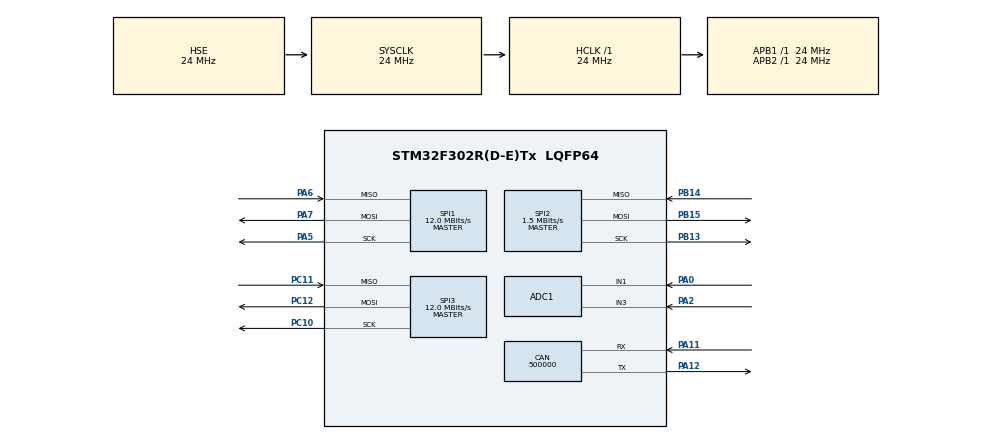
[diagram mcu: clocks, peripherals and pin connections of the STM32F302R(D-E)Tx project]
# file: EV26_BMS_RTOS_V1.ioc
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ADC1.Channel-0\#ChannelRegularConversion=ADC_CHANNEL_1
ADC1.NbrOfConversionFlag=1
ADC1.Offset-0\#ChannelRegularConversion=0
ADC1.OffsetNumber-0\#ChannelRegularConversion=ADC_OFFSET_NONE
ADC1.Rank-0\#ChannelRegularConversion=1
ADC1.SamplingTime-0\#ChannelRegularConversion=ADC_SAMPLETIME_1CYCLE_5
ADC1.master=1
CAN.CalculateBaudRate=500000
CAN.CalculateTimeBit=2000
CAN.CalculateTimeQuantum=666.6666666666666
Dma.ADC1.0.Direction=DMA_PERIPH_TO_MEMORY
Dma.ADC1.0.Instance=DMA1_Channel1
Dma.ADC1.0.MemDataAlignment=DMA_MDATAALIGN_HALFWORD
Dma.ADC1.0.MemInc=DMA_MINC_ENABLE
Dma.ADC1.0.Mode=DMA_CIRCULAR
Dma.ADC1.0.PeriphDataAlignment=DMA_PDATAALIGN_HALFWORD
Dma.ADC1.0.PeriphInc=DMA_PINC_DISABLE
Dma.ADC1.0.Priority=DMA_PRIORITY_LOW
Dma.Request0=ADC1
FREERTOS.Tasks01=BMSPrimaryMSG,24,128,StartBMSPrimaryMSG,Default,NULL,Dynamic,NULL,NULL;Fault,40,128,StartFault,Default,NULL,Dynamic,NULL,NULL;CANRXMSG,16,128,StartCANRXMSG,Default,NULL,Dynamic,NULL,NULL;BMSSecondaryMSG,24,128,StartBMSSecondaryMSG,Default,NULL,Dynamic,NULL,NULL
FREERTOS.configUSE_NEWLIB_REENTRANT=1
Mcu.Family=STM32F3
Mcu.Name=STM32F302R(D-E)Tx
Mcu.Package=LQFP64
NVIC.DMA1_Channel1_IRQn=true\:5\:0\:false\:false\:true\:true\:false\:true\:true
NVIC.PriorityGroup=NVIC_PRIORITYGROUP_4
NVIC.TIM6_DAC_IRQn=true\:15\:0\:false\:false\:true\:false\:false\:true\:true
NVIC.TimeBase=TIM6_DAC_IRQn
NVIC.TimeBaseIP=TIM6
PA0.Mode=IN1-Single-Ended
PA0.Signal=ADC1_IN1
PA11.Mode=CAN_Activate
PA11.Signal=CAN_RX
PA12.Mode=CAN_Activate
PA12.Signal=CAN_TX
PA2.Mode=IN3-Single-Ended
PA2.Signal=ADC1_IN3
PA5.Mode=Full_Duplex_Master
PA5.Signal=SPI1_SCK
PA6.Mode=Full_Duplex_Master
PA6.Signal=SPI1_MISO
PA7.Mode=Full_Duplex_Master
PA7.Signal=SPI1_MOSI
PB13.Mode=Full_Duplex_Master
PB13.Signal=SPI2_SCK
PB14.Mode=Full_Duplex_Master
PB14.Signal=SPI2_MISO
PB15.Mode=Full_Duplex_Master
PB15.Signal=SPI2_MOSI
PC10.Mode=Full_Duplex_Master
PC10.Signal=SPI3_SCK
PC11.Mode=Full_Duplex_Master
PC11.Signal=SPI3_MISO
PC12.Mode=Full_Duplex_Master
PC12.Signal=SPI3_MOSI
PF0-OSC_IN.Mode=HSE-External-Oscillator
PF0-OSC_IN.Signal=RCC_OSC_IN
PF1-OSC_OUT.Mode=HSE-External-Oscillator
PF1-OSC_OUT.Signal=RCC_OSC_OUT
ProjectManager.HeapSize=0x200
ProjectManager.StackSize=0x400
ProjectManager.TargetToolchain=STM32CubeIDE
RCC.AHBFreq_Value=24000000
RCC.APB1Freq_Value=24000000
RCC.APB1TimFreq_Value=24000000
RCC.APB2Freq_Value=24000000
RCC.APB2TimFreq_Value=24000000
RCC.CortexFreq_Value=24000000
RCC.DATA_CACHE_ENABLE=0
RCC.HCLKFreq_Value=24000000
RCC.HSE_VALUE=24000000
RCC.HSI_VALUE=8000000
RCC.INSTRUCTION_CACHE_ENABLE=0
RCC.LSE_VALUE=32768
RCC.PLLSourceVirtual=RCC_PLLSOURCE_HSE
RCC.SYSCLKFreq_VALUE=24000000
RCC.SYSCLKSourceVirtual=RCC_SYSCLKSOURCE_HSE
RCC.USBFreq_Value=48000000
SPI1.CalculateBaudRate=12.0 MBits/s
SPI1.Direction=SPI_DIRECTION_2LINES
SPI1.Mode=SPI_MODE_MASTER
SPI1.VirtualType=VM_MASTER
SPI2.BaudRatePrescaler=SPI_BAUDRATEPRESCALER_16
SPI2.CalculateBaudRate=1.5 MBits/s
SPI2.DataSize=SPI_DATASIZE_8BIT
SPI2.Direction=SPI_DIRECTION_2LINES
SPI2.Mode=SPI_MODE_MASTER
SPI2.VirtualType=VM_MASTER
SPI3.CalculateBaudRate=12.0 MBits/s
SPI3.Direction=SPI_DIRECTION_2LINES
SPI3.Mode=SPI_MODE_MASTER
SPI3.VirtualType=VM_MASTER
VP_FREERTOS_VS_CMSIS_V2.Mode=CMSIS_V2
VP_SYS_VS_tim6.Mode=TIM6
board=custom

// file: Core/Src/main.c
/* USER CODE BEGIN Header */
/**
  ******************************************************************************
  * @file           : main.c
  * @brief          : Main program body
  ******************************************************************************
  * @attention
  *
  * Copyright (c) 2025 STMicroelectronics.
  * All rights reserved.
  *
  * This software is licensed under terms that can be found in the LICENSE file
  * in the root directory of this software component.
  * If no LICENSE file comes with this software, it is provided AS-IS.
  *
  ******************************************************************************
  */
/* USER CODE END Header */
#include "main.h"
#include "cmsis_os.h"
#include "adc.h"
#include "can.h"
#include "dma.h"
#include "spi.h"
#include "gpio.h"

/* USER CODE BEGIN Includes */
#include "can_encode.h"
#include "can_decode.h"
#include "DHAB124.h"
/* USER CODE END Includes */

void SystemClock_Config(void);
void MX_FREERTOS_Init(void);

int main(void)
{

  /* MCU Configuration--------------------------------------------------------*/

  /* Reset of all peripherals, Initializes the Flash interface and the Systick. */
  HAL_Init();

  /* Configure the system clock */
  SystemClock_Config();

  /* Initialize all configured peripherals */
  MX_GPIO_Init();
  MX_DMA_Init();
  MX_CAN_Init();
  MX_SPI1_Init();
  MX_SPI3_Init();
  MX_ADC1_Init();
  MX_SPI2_Init();
  /* USER CODE BEGIN 2 */

  TxHeader.IDE = CAN_ID_STD;
  TxHeader.RTR = CAN_RTR_DATA;
  TxHeader.DLC = 8;
  TxHeader.TransmitGlobalTime = DISABLE;

  /* USER CODE END 2 */

  /* Init scheduler */
  osKernelInitialize();  /* Call init function for freertos objects (in cmsis_os2.c) */
  MX_FREERTOS_Init();

  /* Start scheduler */
  osKernelStart();

  /* We should never get here as control is now taken by the scheduler */

  /* Infinite loop */
  while (1)
  {

  }
}

void SystemClock_Config(void)
{
  RCC_OscInitTypeDef RCC_OscInitStruct = {0};
  RCC_ClkInitTypeDef RCC_ClkInitStruct = {0};
  RCC_PeriphCLKInitTypeDef PeriphClkInit = {0};

  /** Initializes the RCC Oscillators according to the specified parameters
  * in the RCC_OscInitTypeDef structure.
  */
  RCC_OscInitStruct.OscillatorType = RCC_OSCILLATORTYPE_HSE;
  RCC_OscInitStruct.HSEState = RCC_HSE_ON;
  RCC_OscInitStruct.HSIState = RCC_HSI_ON;
  RCC_OscInitStruct.PLL.PLLState = RCC_PLL_ON;
  RCC_OscInitStruct.PLL.PLLSource = RCC_PLLSOURCE_HSE;
  RCC_OscInitStruct.PLL.PLLMUL = RCC_PLL_MUL2;
  RCC_OscInitStruct.PLL.PREDIV = RCC_PREDIV_DIV1;
  if (HAL_RCC_OscConfig(&RCC_OscInitStruct) != HAL_OK)
  {
    Error_Handler();
  }

  /** Initializes the CPU, AHB and APB buses clocks
  */
  RCC_ClkInitStruct.ClockType = RCC_CLOCKTYPE_HCLK|RCC_CLOCKTYPE_SYSCLK
                              |RCC_CLOCKTYPE_PCLK1|RCC_CLOCKTYPE_PCLK2;
  RCC_ClkInitStruct.SYSCLKSource = RCC_SYSCLKSOURCE_HSE;
  RCC_ClkInitStruct.AHBCLKDivider = RCC_SYSCLK_DIV1;
  RCC_ClkInitStruct.APB1CLKDivider = RCC_HCLK_DIV1;
  RCC_ClkInitStruct.APB2CLKDivider = RCC_HCLK_DIV1;

  if (HAL_RCC_ClockConfig(&RCC_ClkInitStruct, FLASH_LATENCY_0) != HAL_OK)
  {
    Error_Handler();
  }
  PeriphClkInit.PeriphClockSelection = RCC_PERIPHCLK_ADC12;
  PeriphClkInit.Adc12ClockSelection = RCC_ADC12PLLCLK_DIV1;
  if (HAL_RCCEx_PeriphCLKConfig(&PeriphClkInit) != HAL_OK)
  {
    Error_Handler();
  }
}

void HAL_TIM_PeriodElapsedCallback(TIM_HandleTypeDef *htim)
{
  if (htim->Instance == TIM6)
  {
    HAL_IncTick();
  }
}

void Error_Handler(void)
{
  __disable_irq();
  while (1)
  {
  }
}

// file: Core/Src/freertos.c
/* USER CODE BEGIN Header */
/**
  ******************************************************************************
  * File Name          : freertos.c
  * Description        : Code for freertos applications
  ******************************************************************************
  * @attention
  *
  * Copyright (c) 2025 STMicroelectronics.
  * All rights reserved.
  *
  * This software is licensed under terms that can be found in the LICENSE file
  * in the root directory of this software component.
  * If no LICENSE file comes with this software, it is provided AS-IS.
  *
  ******************************************************************************
  */
/* USER CODE END Header */

#include "FreeRTOS.h"
#include "task.h"
#include "main.h"
#include "cmsis_os.h"

/* USER CODE BEGIN Includes */
#include "can_encode.h"
#include "can_decode.h"
#include "DHAB124.h"
/* USER CODE END Includes */

/* USER CODE BEGIN PD */
#define ADC_BUF_LEN 32
/* USER CODE END PD */

/* USER CODE BEGIN Variables */
uint16_t adc_buffer[ADC_BUF_LEN];
float current;

// BMS Status Variables
float packVolts, packAmps,soc;
uint8_t lowVolt, highVolt, lowTemp, highTemp, imbalance, dischargeOK, chargeOK, faulted, data;

//CAN Variables
CAN_TxHeaderTypeDef   TxHeader; /* Header containing the information of the transmitted frame */
CAN_RxHeaderTypeDef   RxHeader; ; /* Header containing the information of the received frame */
uint8_t               TxData[8] = {0};  /* Buffer of the data to send */
uint8_t               RxData[8]; /* Buffer of the received data */
uint32_t              TxMailbox;  /* The number of the mail box that transmitted the Tx message */
/* USER CODE END Variables */
/* Definitions for BMSPrimaryMSG */
osThreadId_t BMSPrimaryMSGHandle;
const osThreadAttr_t BMSPrimaryMSG_attributes = {
  .name = "BMSPrimaryMSG",
  .stack_size = 128 * 4,
  .priority = (osPriority_t) osPriorityNormal,
};
/* Definitions for Fault */
osThreadId_t FaultHandle;
const osThreadAttr_t Fault_attributes = {
  .name = "Fault",
  .stack_size = 128 * 4,
  .priority = (osPriority_t) osPriorityHigh,
};
/* Definitions for CANRXMSG */
osThreadId_t CANRXMSGHandle;
const osThreadAttr_t CANRXMSG_attributes = {
  .name = "CANRXMSG",
  .stack_size = 128 * 4,
  .priority = (osPriority_t) osPriorityBelowNormal,
};
/* Definitions for BMSSecondaryMSG */
osThreadId_t BMSSecondaryMSGHandle;
const osThreadAttr_t BMSSecondaryMSG_attributes = {
  .name = "BMSSecondaryMSG",
  .stack_size = 128 * 4,
  .priority = (osPriority_t) osPriorityNormal,
};

void StartBMSPrimaryMSG(void *argument);
void StartFault(void *argument);
void StartCANRXMSG(void *argument);
void StartBMSSecondaryMSG(void *argument);

void MX_FREERTOS_Init(void); /* (MISRA C 2004 rule 8.1) */

void MX_FREERTOS_Init(void) {

  /* Create the thread(s) */
  /* creation of BMSPrimaryMSG */
  BMSPrimaryMSGHandle = osThreadNew(StartBMSPrimaryMSG, NULL, &BMSPrimaryMSG_attributes);

  /* creation of Fault */
  FaultHandle = osThreadNew(StartFault, NULL, &Fault_attributes);

  /* creation of CANRXMSG */
  CANRXMSGHandle = osThreadNew(StartCANRXMSG, NULL, &CANRXMSG_attributes);

  /* creation of BMSSecondaryMSG */
  BMSSecondaryMSGHandle = osThreadNew(StartBMSSecondaryMSG, NULL, &BMSSecondaryMSG_attributes);

}

void StartBMSPrimaryMSG(void *argument)
{
  /* USER CODE BEGIN StartBMSPrimaryMSG */
  /* Infinite loop */
  for(;;)
  {
	//TODO Read Modules
	//TODO Read Current
	//TODO SEND STATUS Message
		// BMS Status Variables
		//float packVolts, packAmps,soc;
		//uint8_t lowVolt, highVolt, lowTemp, highTemp, imbalance, dischargeOK, chargeOK, faulted, data;
	//TODO PACK FAULTED
	  if(){//Voltage reads too high or too low, Thermistor reads to high, or not reading a module or thermisor
	  HAL_GPIO_WritePin(GPIOB, GPIO_PIN_6,GPIO_PIN_RESET);
	  faulted = 1;
	  }
	  Encode_BMS_STATUS(packVolts, packAmps, soc,
					  lowVolt, highVolt, lowTemp,
					  highTemp, imbalance, dischargeOK,
					  chargeOK, faulted, TxData);
	  TxHeader.StdId = 1542; // Update CAN ID
	  while(HAL_CAN_GetTxMailboxesFreeLevel(&hcan) == 0);
	  if(HAL_CAN_AddTxMessage(&hcan, &TxHeader, TxData, &TxMailbox) != HAL_OK) Error_Handler();
  }
  /* USER CODE END StartBMSPrimaryMSG */
}

void StartFault(void *argument)
{
  /* USER CODE BEGIN StartFault */
  /* Infinite loop */
  for(;;)
  {
	//TODO DEFINE FALUT

	//TODO Read Modules
	//TODO Read Current
	//TODO SEND BMS STATUS MESSAGE
		// BMS Status Variables
		//float packVolts, packAmps,soc;
		//uint8_t lowVolt, highVolt, lowTemp, highTemp, imbalance, dischargeOK, chargeOK, faulted, data;
	//TODO FAULT CLEARED
	  if(){
		  HAL_GPIO_WritePin(GPIOB, GPIO_PIN_6,GPIO_PIN_SET);
	  	  faulted = 0;
	  }
	//

  }
  /* USER CODE END StartFault */
}

void StartCANRXMSG(void *argument)
{
  /* USER CODE BEGIN StartCANRXMSG */
  /* Infinite loop */
  for(;;)
  {
	//TODO RX message
	//TODO INVERTER_CTRL
	//TODO SYS_STATUS
    osDelay(1);
  }
  /* USER CODE END StartCANRXMSG */
}

void StartBMSSecondaryMSG(void *argument)
{
  /* USER CODE BEGIN StartBMSSecondaryMSG */
  /* Infinite loop */
  for(;;)
  {
	//TODO BMS_QUADVOLTS
	  Encode_BMS_QUADVOLTS();
	//TODO BMS_CELLVOLTS
	  Encode_BMS_CELLVOLTS();
	//TODO BMS_TEMPS
	  Encode_BMS_TEMPS();

    osDelay(1);
  }
  /* USER CODE END StartBMSSecondaryMSG */
}
